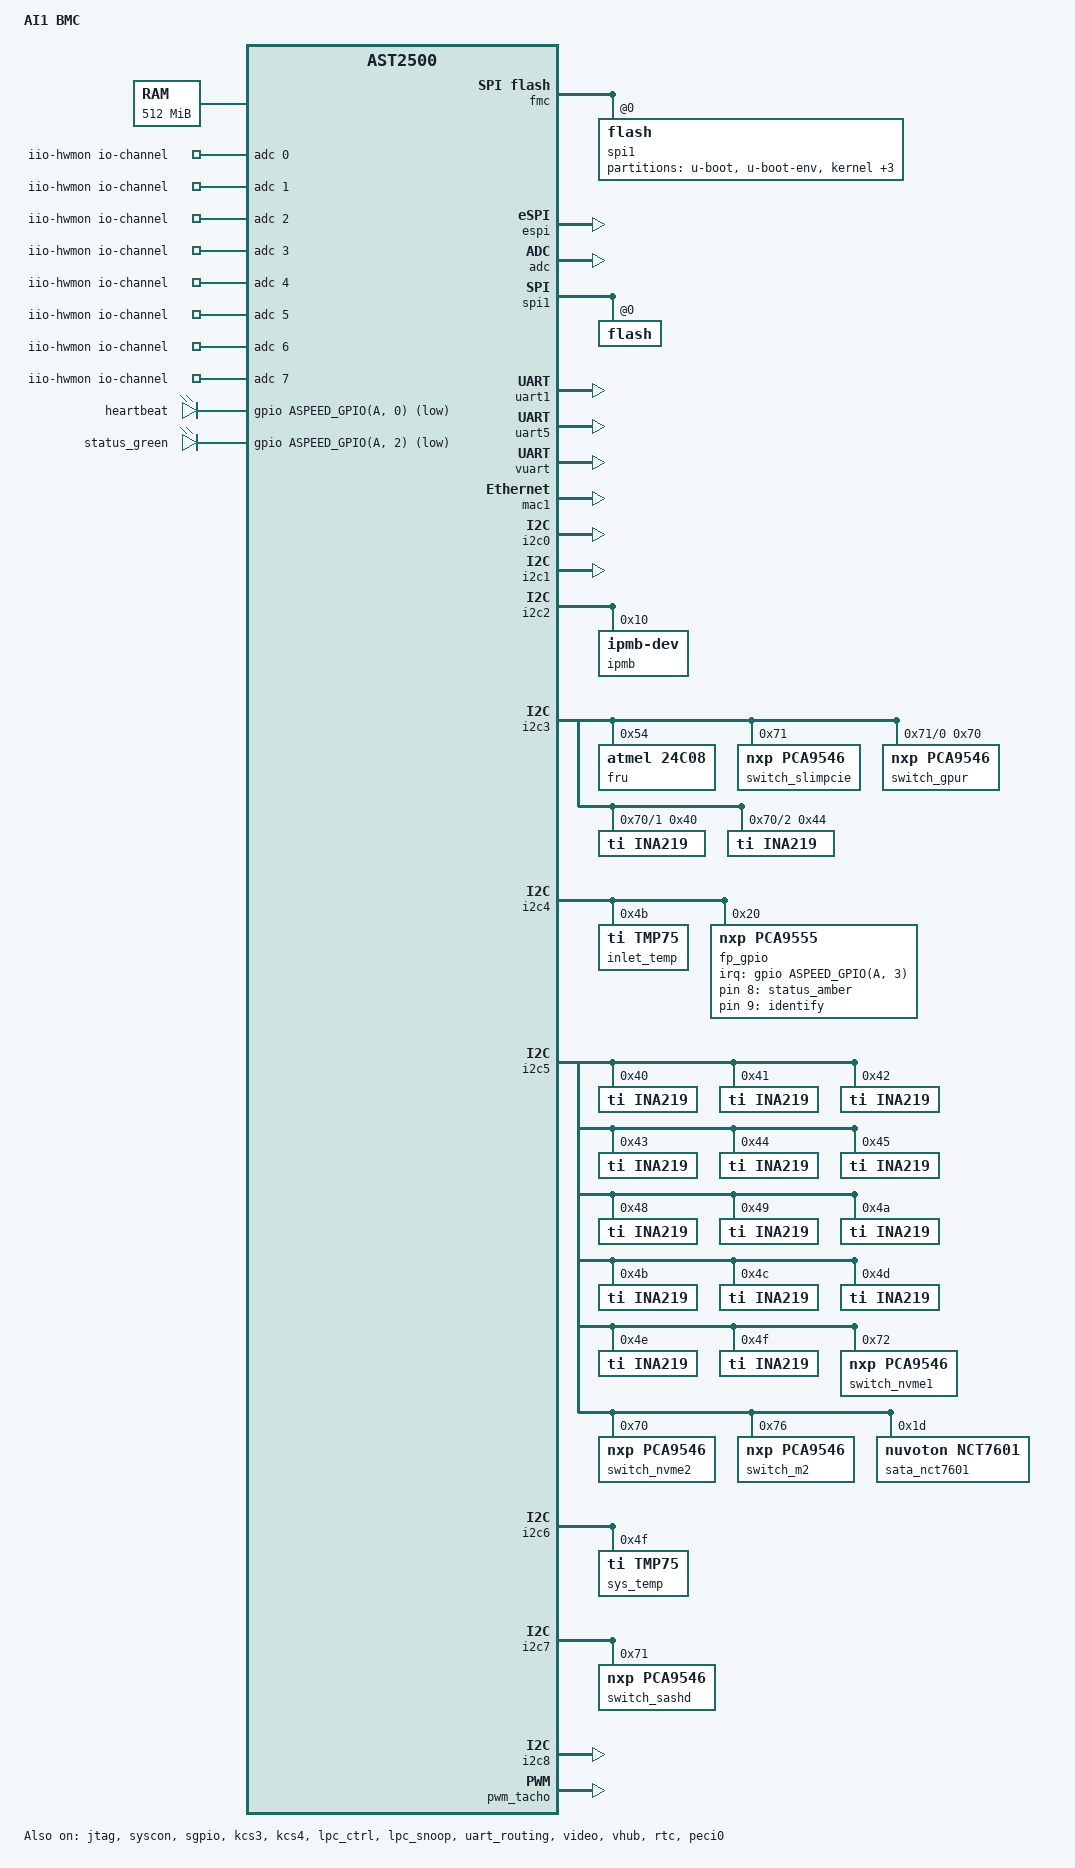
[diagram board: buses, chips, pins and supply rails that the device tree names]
/dts-v1/;

#include "aspeed-g5.dtsi"
#include <dt-bindings/gpio/aspeed-gpio.h>
#include <dt-bindings/i2c/i2c.h>
#include <dt-bindings/leds/leds-pca955x.h>
#include <dt-bindings/interrupt-controller/irq.h>

/ {
	model = "AI1 BMC";
	compatible = "intel,ai1-bmc", "aspeed,ast2500";

	aliases {
		serial4 = &uart5;

		i2c17 = &i2c_nvme1;
		i2c18 = &i2c_nvme2;
		i2c19 = &i2c_nvme3;
		i2c20 = &i2c_nvme4;
		i2c21 = &i2c_nvme5;
		i2c22 = &i2c_nvme6;
		i2c41 = &i2c_sas1;
		i2c42 = &i2c_sas2;
		i2c43 = &i2c_sas3;
		i2c44 = &i2c_sas4;
		i2c28 = &i2c_m2_0;
		i2c29 = &i2c_m2_1;
		i2c31 = &i2c_slimpcie_5_6;
		i2c32 = &i2c_slimpcie_1_2;
		i2c33 = &i2c_slimpcie_3_4; // This bus is also connected to PCIe slot 2 on GPUR
		i2c34 = &i2c_slimpcie_7_8;
		i2c50 = &i2c_pcie_slot1;
		i2c51 = &i2c_pcie_slot2;
		i2c52 = &i2c_pcie_slot3;
		i2c53 = &i2c_pcie_slot4;
	};

	chosen {
		stdout-path = &uart5;
		bootargs = "console=ttyS4,115200n8 root=/dev/ram rw earlyrintk";
	};

	memory@80000000 {
		reg = <0x80000000 0x20000000>;
	};

	reserved-memory {
		#address-cells = <1>;
		#size-cells = <1>;
		ranges;

		vga_memory: framebuffer@7f000000 {
			no-map;
			reg = <0x7f000000 0x01000000>;
		};

		video_engine_memory: jpegbuffer {
			size = <0x02000000>;
			alignment = <0x01000000>;
			compatible = "shared-dma-pool";
			reusable;
		};
		ramoops@9eff0000{
			compatible = "ramoops";
			reg = <0x9eff0000 0x10000>;
			record-size = <0x2000>;
			console-size = <0x2000>;
		};
	};

	vga-shared-memory {
		compatible = "aspeed,ast2500-vga-sharedmem";
		reg = <0x9ff00000 0x100000>;
	};

	iio-hwmon {
			compatible = "iio-hwmon";
			io-channels = <&adc 0>, <&adc 1>, <&adc 2>, <&adc 3>,
				<&adc 4>, <&adc 5>, <&adc 6>, <&adc 7>,
				<&adc 8>, <&adc 9>, <&adc 10>, <&adc 11>,
				<&adc 12>, <&adc 13>, <&adc 14>, <&adc 15>;
	};
	/*iio-hwmon-p12v{
		compatible = "iio-hwmon";
		io-channels = <&adc 0>;
	};

	iio-hwmon-p5v {
		compatible = "iio-hwmon";
		io-channels = <&adc 1>;
	};

	iio-hwmon-p3v3 {
		compatible = "iio-hwmon";
		io-channels = <&adc 2>;
	};

	iio-hwmon-p5v-stdby {
		compatible = "iio-hwmon";
		io-channels = <&adc 3>;
	};

	iio-hwmon-p-vddcr-soc {
		compatible = "iio-hwmon";
		io-channels = <&adc 4>;
	};

	iio-hwmon-pvbat {
		compatible = "iio-hwmon";
		io-channels = <&adc 5>;
	};

	iio-hwmon-p0_vddcr_cpu {
		compatible = "iio-hwmon";
		io-channels = <&adc 6>;
	};

	iio-hwmon-p1_vddcr_cpu {
		compatible = "iio-hwmon";
		io-channels = <&adc 7>;
	};

	iio-hwmon-p0_vddio_mem_abcd {
		compatible = "iio-hwmon";
		io-channels = <&adc 8>;
	};

	iio-hwmon-p0_vddio_mem_efgh {
		compatible = "iio-hwmon";
		io-channels = <&adc 9>;
	};

	iio-hwmon-p1_vddio_mem_abcd {
		compatible = "iio-hwmon";
		io-channels = <&adc 10>;
	};

	iio-hwmon-p1_vddio_mem_efgh {
		compatible = "iio-hwmon";
		io-channels = <&adc 11>;
	};


	iio-hwmon-p1_vdd_soc {
		compatible = "iio-hwmon";
		io-channels = <&adc 12>;
	};

	iio-hwmon-p0_vdd_18 {
		compatible = "iio-hwmon";
		io-channels = <&adc 13>;
	};

	iio-hwmon-p1_vdd_18 {
		compatible = "iio-hwmon";
		io-channels = <&adc 15>;
	};*/

	leds {
		compatible = "gpio-leds";

		heartbeat {
			label = "heartbeat";
			gpios = <&gpio ASPEED_GPIO(A, 0) GPIO_ACTIVE_LOW>;
			linux,default-trigger = "timer";
			active-delay = <100>;
			inactive-delay = <100>;
		};

		status_green {
			default-state = "keep";
			gpios = <&gpio ASPEED_GPIO(A, 2) GPIO_ACTIVE_LOW>;
		};

		status_amber {
			default-state = "keep";
			gpios = <&fp_gpio 8 GPIO_ACTIVE_HIGH>;
		};

		identify {
			default-state = "keep";
			gpios = <&fp_gpio 9 GPIO_ACTIVE_HIGH>;
		};
	};
};

&fmc {
	status = "okay";
	flash@0 {
		status = "okay";
		m25p,fast-read;
		label = "spi1";
		partitions {
			compatible = "fixed-partitions";
			#address-cells = <1>;
			#size-cells = <1>;

			u-boot@0 {
				reg = <0x0 0x60000>; // 384KB
				label = "u-boot";
			};

			u-boot-env@60000 {
				reg = <0x60000 0x20000>; // 128KB
				label = "u-boot-env";
			};

			kernel@80000 {
				reg = <0x80000 0x440000>; // 4352KB
				label = "kernel";
			};

			rofs@4c0000 {
				reg = <0x4c0000 0x2000000>; // 32MB
				label = "rofs";
			};

			rwfs@24c0000 {
				reg = <0x24c0000 0x1400000>; // 20MB
				label = "rwfs";
			};

			persistent@38C0000 {
				reg = <0x38C0000 0x640000>; // 6.4MB must end at 0x3f00000
				label = "persistent";
			};
		};
	};
};

&espi {
	status = "okay";
};

&jtag {
	status = "okay";
};

&syscon {
	/* uart-clock-high-speed; */
	status = "okay";
/*
	misc_control {
		compatible = "aspeed,bmc-misc";
		uart_port_debug {
			offset = <0x2c>;
			bit-mask = <0x1>;
			bit-shift = <10>;
			read-only;
		};
	};
*/
};

&adc {
	status = "okay";
	pinctrl-names = "default";
	pinctrl-0 = <&pinctrl_adc0_default &pinctrl_adc1_default
	 &pinctrl_adc2_default &pinctrl_adc3_default &pinctrl_adc4_default
	 &pinctrl_adc5_default &pinctrl_adc6_default &pinctrl_adc7_default
	 &pinctrl_adc8_default &pinctrl_adc9_default &pinctrl_adc10_default
	 &pinctrl_adc11_default &pinctrl_adc12_default &pinctrl_adc13_default
	 &pinctrl_adc15_default>;
};

&gpio {
	status = "okay";
	/* Enable GPIOD0 and GPIOD2 pass-through by default */
	pinctrl-names = "pass-through";
	pinctrl-0 = <&pinctrl_gpid0_default
			&pinctrl_gpid2_default>;
	gpio-line-names =
	/* A0-A7 */ "A0", "A1", "A2", "A3", "A4", "A5", "A6", "A7",
	/* B0-B7 */ "B0", "B1", "B2", "POST_COMPLETE", "CPU_CATERR", "B5", "PS_PWROK", "B7",
	/* C0-C7 */ "C0", "C1", "C2", "C3", "CPU1_FIVR_FAULT", "CPU2_FIVR_FAULT", "C6", "C7",
	/* D0-D7 */ "POWER_BUTTON", "POWER_OUT", "D2", "D3", "D4", "D5", "D6", "D7",
	/* E0-E7 */ "E0", "BMC_INIT", "BMC_READY", "E3", "E4", "E5", "E6", "E7",
	/* F0-F7 */ "CPU1_THERMTRIP", "CPU2_THERMTRIP", "F2", "P3VBAT_BRIDGE_EN", "F4", "F5", "F6", "F7",
	/* G0-G7 */ "CPU1_MEM_THERM_EVENT", "CPU2_MEM_THERM_EVENT", "CPU_ERR0", "CPU_ERR1", "G4", "FM_CLR_CMOS", "G6", "G7",
	/* H0-H7 */ "H0", "H1", "NMI_OUT", "CPU_ERR2", "H4", "H5", "H6", "H7",
	/* I0-I7 */ "I0", "I1", "I2", "I3", "I4", "I5", "I6", "I7",
	/* J0-J7 */ "J0", "J1", "J2", "J3", "J4", "J5", "J6", "J7",
	/* K0-K7 */ "K0", "K1", "K2", "K3", "K4", "K5", "K6", "K7",
	/* L0-L7 */ "L0", "L1", "L2", "L3", "L4", "L5", "L6", "L7",
	/* M0-M7 */ "M0", "M1", "M2", "OCP_2_MAIN_PWR_EN", "OCP_MAIN_PWR_EN", "OCP_AUX_PWR_EN", "OCP_2_AUX_PWR_EN", "M7",
	/* N0-N7 */ "N0", "N1", "N2", "N3", "N4", "N5", "N6", "N7",
	/* O0-O7 */ "O0", "O1", "O2", "O3", "O4", "O5", "O6", "O7",
	/* P0-P7 */ "P0", "P1", "P2", "P3", "P4", "P5", "P6", "P7",
	/* Q0-Q7 */ "Q0", "Q1", "Q2", "Q3", "Q4", "Q5", "OCP_2_SMRST", "Q7",
	/* R0-R7 */ "R0", "R1", "R2", "R3", "R4", "R5", "R6", "R7",
	/* S0-S7 */ "S0", "S1", "S2", "S3", "S4", "S5", "S6", "S7",
	/* T0-T7 */ "T0", "T1", "T2", "T3", "T4", "T5", "T6", "T7",
	/* U0-U7 */ "U0", "U1", "U2", "U3", "U4", "U5", "U6", "U7",
	/* V0-V7 */ "V0", "V1", "V2", "V3", "V4", "V5", "V6", "V7",
	/* W0-W7 */ "W0", "W1", "W2", "W3", "W4", "W5", "W6", "W7",
	/* X0-X7 */ "X0", "X1", "X2", "X3", "X4", "X5", "X6", "X7",
	/* Y0-Y7 */ "Y0", "Y1", "Y2", "Y3", "Y4", "Y5", "Y6", "Y7",
	/* Z0-Z7 */ "BMC_POWER_BRAKE", "BAT_SENSE", "BIOS_SEL", "Z3", "Z4", "Z5", "Z6", "Z7",
	/* AA0-AA7 */ "RESET_OUT", "AA1", "OCP_SMRST", "AA3", "AA4", "AA5", "AA6", "AA7",
	/* AB0-AB7 */ "AB0", "AB1", "AB2", "AB3", "AB4", "AB5", "AB6", "AB7",
	/* AC0-AC7 */ "AC0", "AC1", "AC2", "AC3", "AC4", "AC5", "AC6", "AC7";
};

&sgpio {
	status = "okay";
	ngpios = <80>;
	gpio-line-names =
	/* SGPIO output lines */
	/*OA0-OA7*/ "OA0","OA1","OA2","OA3","OA4","OA5","OA6","OA7",
	/*OB0-OB7*/ "OB0","OB1","OB2","OB3","OB4","OB5","OB6","OB7",
	/*OC0-OC7*/ "OC0","OC1","OC2","OC3","OC4","OC5","OC6","OC7",
	/*OD0-OD7*/ "OD0","OD1","OD2","OD3","OD4","OD5","OD6","OD7",
	/*OE0-OE7*/ "OE0","OE1","OE2","OE3","OE4","OE5","OE6","OE7",
	/*OF0-OF7*/ "OF0","OF1","OF2","OF3","OF4","OF5","OF6","OF7",
	/*OG0-OG7*/ "OG0","OG1","OG2","OG3","OG4","OG5","OG6","OG7",
	/*OH0-OH7*/ "OH0","OH1","OH2","OH3","OH4","OH5","OH6","OH7",
	/*OI0-OI7*/ "OI0","OI1","OI2","OI3","OI4","OI5","OI6","OI7",
	/*OJ0-OJ7*/ "OJ0","OJ1","OJ2","OJ3","OJ4","OJ5","OJ6","OJ7",
	/*DUMMY*/   "","","","","","","","",
	/*DUMMY*/   "","","","","","","","",

	/* SGPIO input lines */
	/*IA0-IA7*/ "IA0","IA1","IA2","IA3","IA4","IA5","IA6","IA7",
	/*IB0-IB7*/ "IB0","IB1","IB2","IB3","IB4","IB5","IB6","IB7",
	/*IC0-IC7*/ "IC0","IC1","IC2","IC3","IC4","IC5","IC6","IC7",
	/*ID0-ID7*/ "ID0","ID1","ID2","ID3","ID4","ID5","ID6","ID7",
	/*IE0-IE7*/ "IE0","IE1","IE2","IE3","IE4","IE5","IE6","IE7",
	/*IF0-IF7*/ "IF0","IF1","IF2","IF3","IF4","IF5","IF6","IF7",
	/*IG0-IG7*/ "IG0","IG1","IG2","IG3","IG4","IG5","IG6","IG7",
	/*IH0-IH7*/ "IH0","IH1","IH2","IH3","IH4","IH5","IH6","IH7",
	/*II0-II7*/ "II0","II1","II2","II3","II4","II5","II6","II7",
	/*IJ0-IJ7*/ "IJ0","IJ1","IJ2","IJ3","IJ4","IJ5","IJ6","IJ7";
};

&kcs3 {
	kcs_addr = <0xCA2>;
	aspeed,lpc-io-reg = <0xca2>;
	status = "okay";
};

&kcs4 {
	kcs_addr = <0xCA4>;
	aspeed,lpc-io-reg = <0xca4>;
	status = "okay";
};

&lpc_ctrl {
	// Enable lpc clock
	status = "okay";
};

/*&lpc_sio {
	status = "okay";
};
*/

&lpc_snoop {
	snoop-ports = <0x80>;
	status = "okay";
};

&mbox {
	status = "okay";
};

/**
 * BIOS flash connected via MUX controlled by GPIO R.3 (BIOS_SEL_N)
*/
&spi1 {
	status = "okay";
	pinctrl-names = "default";
	pinctrl-0 = <&pinctrl_spi1_default>;

	flash@0 {
		m25p,fast-read;
		status = "okay";
	};
};

/* UART1 to NCT6798 UART_B */
&uart1 {
	status = "okay";
	pinctrl-names = "default";
	pinctrl-0 = <&pinctrl_txd1_default &pinctrl_rxd1_default
		     &pinctrl_nrts1_default &pinctrl_ncts1_default>;
};

/* Console UART */
&uart5 {
	status = "okay";
	pinctrl-names = "default";
	pinctrl-0 = <>;
};

/* Host UART sitting on LPC COM1 (0x3F8) */
&vuart {
	status = "okay";
};

&uart_routing {
	status = "okay";
};

&mac0 {
	status = "disabled";
};

&mac1 {
	status = "okay";

	pinctrl-names = "default";
	pinctrl-0 = <&pinctrl_rgmii2_default &pinctrl_mdio2_default>;
};

&i2c0 {
	bus-frequency = <100000>;
	aspeed,dma-buf-size = <4095>;
	aspeed,hw-timeout-ms = <300>;
	status = "okay";
};

&i2c1 {
	bus-frequency = <100000>;
	aspeed,dma-buf-size = <4095>;
	aspeed,hw-timeout-ms = <300>;
	status = "okay";
};

&i2c2 {
	bus-frequency = <100000>;
	aspeed,dma-buf-size = <4095>;
	aspeed,hw-timeout-ms = <300>;
	multi-master;
	status = "okay";
	ipmb@10 {
		compatible = "ipmb-dev";
		reg = <0x10>;
		i2c-protocol;
	};
};

&i2c3 {
	bus-frequency = <100000>;
	aspeed,dma-buf-size = <4095>;
	aspeed,hw-timeout-ms = <300>;
	status = "okay";

	fru@54 {
		compatible = "atmel,24c08";
		reg = <0x54>;
	};

	switch_slimpcie {
		compatible = "nxp,pca9546";
		#address-cells = <1>;
		#size-cells = <0>;
		reg = <0x71>;
		i2c-mux-idle-disconnect;
		i2c_slimpcie_1_2: i2c@0 {
			#address-cells = <1>;
			#size-cells = <0>;
			reg = <0>;
			switch_gpur {
				compatible = "nxp,pca9546";
				#address-cells = <1>;
				#size-cells = <0>;
				reg = <0x70>;
				i2c-mux-idle-disconnect;
				i2c_pcie_slot1: i2c@0 {
					#address-cells = <1>;
					#size-cells = <0>;
					reg = <0>;
				};
				i2c_pcie_slot2: i2c@1 {
					#address-cells = <1>;
					#size-cells = <0>;
					reg = <1>;
					ina219@40 {
						compatible = "ti,ina219";
						reg = <0x40>;
						shunt-resistor = <1100>; //1000uOhm + 100uOhm (loss compensation)
					};
				};
				i2c_pcie_slot3: i2c@2 {
					#address-cells = <1>;
					#size-cells = <0>;
					reg = <2>;
					ina219@44 {
						compatible = "ti,ina219";
						reg = <0x44>;
						shunt-resistor = <1200>; //1200uOhm + 200uOhm (loss compensation)
					};
				};
				i2c_pcie_slot4: i2c@3 {
					#address-cells = <1>;
					#size-cells = <0>;
					reg = <3>;
				};
			};
		};
		i2c_slimpcie_3_4: i2c@1 {
			#address-cells = <1>;
			#size-cells = <0>;
			reg = <1>;
		};
		i2c_slimpcie_5_6: i2c@2 {
			#address-cells = <1>;
			#size-cells = <0>;
			reg = <2>;
		};
		i2c_slimpcie_7_8: i2c@3 {
			#address-cells = <1>;
			#size-cells = <0>;
			reg = <3>;
		};
	};
};

&i2c4 {
	bus-frequency = <100000>;
	aspeed,dma-buf-size = <4095>;
	aspeed,hw-timeout-ms = <300>;
	status = "okay";

	inlet_temp {
		compatible = "ti,tmp75";
		reg = <0x4b>;
	};

	fp_gpio: fp_gpio@20 {
		compatible = "nxp,pca9555";
		reg = <0x20>;
		gpio-controller;
		#gpio-cells = <2>;
		interrupt-controller;
		#interrupt-cells = <2>;
		interrupt-parent = <&gpio>;
		interrupts = <ASPEED_GPIO(A, 3) IRQ_TYPE_EDGE_FALLING>;
		gpio-line-names =
			"FP_SW_1","FP_SW_2","RESET_BUTTON","ID_BUTTON","IO04","IO05","IO06","IO07",
			"IO10","IO11","IO12","IO13","IO14","IO15","IO16","IO17";
	};
};

/* SATA & NVME bus */
&i2c5 {
	bus-frequency = <100000>;
	aspeed,dma-buf-size = <4095>;
	aspeed,hw-timeout-ms = <300>;
	status = "okay";

	ina219@40 {
		compatible = "ti,ina219";
		reg = <0x40>;
		shunt-resistor = <1500>;
	};
	ina219@41 {
		compatible = "ti,ina219";
		reg = <0x41>;
		shunt-resistor = <1500>;
	};
	ina219@42 {
		compatible = "ti,ina219";
		reg = <0x42>;
		shunt-resistor = <1500>;
	};
	ina219@43 {
		compatible = "ti,ina219";
		reg = <0x43>;
		shunt-resistor = <1500>;
	};
	ina219@44 {
		compatible = "ti,ina219";
		reg = <0x44>;
		shunt-resistor = <1500>;
	};
	ina219@45 {
		compatible = "ti,ina219";
		reg = <0x45>;
		shunt-resistor = <1500>;
	};
	ina219@48 {
		compatible = "ti,ina219";
		reg = <0x48>;
		shunt-resistor = <1500>;
	};
	ina219@49 {
		compatible = "ti,ina219";
		reg = <0x49>;
		shunt-resistor = <1500>;
	};
	ina219@4a {
		compatible = "ti,ina219";
		reg = <0x4a>;
		shunt-resistor = <1500>;
	};
	ina219@4b {
		compatible = "ti,ina219";
		reg = <0x4b>;
		shunt-resistor = <1500>;
	};
	ina219@4c {
		compatible = "ti,ina219";
		reg = <0x4c>;
		shunt-resistor = <1500>;
	};
	ina219@4d {
		compatible = "ti,ina219";
		reg = <0x4d>;
		shunt-resistor = <1500>;
	};
	ina219@4e {
		compatible = "ti,ina219";
		reg = <0x4e>;
		shunt-resistor = <1500>;
	};
	ina219@4f {
		compatible = "ti,ina219";
		reg = <0x4f>;
		shunt-resistor = <1500>;
	};
	switch_nvme1 {
		compatible = "nxp,pca9546";
		#address-cells = <1>;
		#size-cells = <0>;
		reg = <0x72>;
		i2c-mux-idle-disconnect;
		i2c_nvme1: i2c@0 {
			#address-cells = <1>;
			#size-cells = <0>;
			reg = <0>;
		};
		i2c_nvme2: i2c@1 {
			#address-cells = <1>;
			#size-cells = <0>;
			reg = <1>;
		};
		i2c_nvme3: i2c@2 {
			#address-cells = <1>;
			#size-cells = <0>;
			reg = <2>;
		};
		i2c_nvme4: i2c@3 {
			#address-cells = <1>;
			#size-cells = <0>;
			reg = <3>;
		};
	};
	switch_nvme2 {
		compatible = "nxp,pca9546";
		#address-cells = <1>;
		#size-cells = <0>;
		reg = <0x70>;
		i2c-mux-idle-disconnect;
		i2c_nvme5: i2c@1 {
			#address-cells = <1>;
			#size-cells = <0>;
			reg = <1>;
		};
		i2c_nvme6: i2c@0 {
			#address-cells = <1>;
			#size-cells = <0>;
			reg = <0>;
		};
	};
	switch_m2 {
		compatible = "nxp,pca9546";
		#address-cells = <1>;
		#size-cells = <0>;
		reg = <0x76>;
		i2c-mux-idle-disconnect;
		i2c_m2_0: i2c@0 {
			#address-cells = <1>;
			#size-cells = <0>;
			reg = <0>;
		};
		i2c_m2_1: i2c@1 {
			#address-cells = <1>;
			#size-cells = <0>;
			reg = <1>;
		};
	};
	sata_nct7601 {
		compatible = "nuvoton,nct7601";
		reg = <0x1d>;
		#address-cells = <1>;
		#size-cells = <0>;
	};
};

&i2c6 {
	bus-frequency = <100000>;
	aspeed,dma-buf-size = <4095>;
	aspeed,hw-timeout-ms = <300>;
	status = "okay";

	sys_temp {
		compatible = "ti,tmp75";
		reg = <0x4f>;
	};
};

&i2c7 {
	bus-frequency = <100000>;
	aspeed,dma-buf-size = <4095>;
	aspeed,hw-timeout-ms = <300>;
	status = "okay";
	switch_sashd {
		compatible = "nxp,pca9546";
		#address-cells = <1>;
		#size-cells = <0>;
		reg = <0x71>;
		i2c-mux-idle-disconnect;
		i2c_sas1: i2c@0 {
			#address-cells = <1>;
			#size-cells = <0>;
			reg = <0>;
		};
		i2c_sas2: i2c@1 {
			#address-cells = <1>;
			#size-cells = <0>;
			reg = <1>;
		};
		i2c_sas3: i2c@2 {
			#address-cells = <1>;
			#size-cells = <0>;
			reg = <2>;
		};
		i2c_sas4: i2c@3 {
			#address-cells = <1>;
			#size-cells = <0>;
			reg = <3>;
		};
	};
};

&i2c8 {
	bus-frequency = <100000>;
	aspeed,dma-buf-size = <4095>;
	aspeed,hw-timeout-ms = <300>;
	status = "okay";
};

&pwm_tacho {
	status = "okay";
	pinctrl-names = "default";
	pinctrl-0 = <&pinctrl_pwm0_default &pinctrl_pwm1_default
				 &pinctrl_pwm2_default &pinctrl_pwm3_default>;

	fan@0 {
		reg = <0x00>;
		aspeed,fan-tach-ch = /bits/ 8 <0x00>;
	};
	fan@1 {
		reg = <0x01>;
		aspeed,fan-tach-ch = /bits/ 8 <0x01>;
	};
	fan@2 {
		reg = <0x02>;
		aspeed,fan-tach-ch = /bits/ 8 <0x02>;
	};
	fan@3 {
		reg = <0x03>;
		aspeed,fan-tach-ch = /bits/ 8 <0x03>;
	};
};

/*
&timer {
*/

/*
 *	Available settings:
 *	fttmr010,pwm-outputs = <5>, <6>, <7>, <8>;
 *	pinctrl-0 = <&pinctrl_timer5_default &pinctrl_timer6_default
 *			&pinctrl_timer7_default &pinctrl_timer8_default>;
 */

/*
	fttmr010,pwm-outputs = <5>;
	pinctrl-names = "default";
	pinctrl-0 = <&pinctrl_timer5_default>;
	#pwm-cells = <3>;
	status = "okay";
};
*/

&video {
	status = "okay";
	memory-region = <&video_engine_memory>;
};

&vhub {
	status = "okay";
};

/*
&ehci0 {
	status = "okay";
};

&ehci1 {
	status = "okay";
};

&uhci {
	status = "okay";
};
*/

&rtc {
	status = "okay";
};

&peci0 {
	status = "okay";
};
